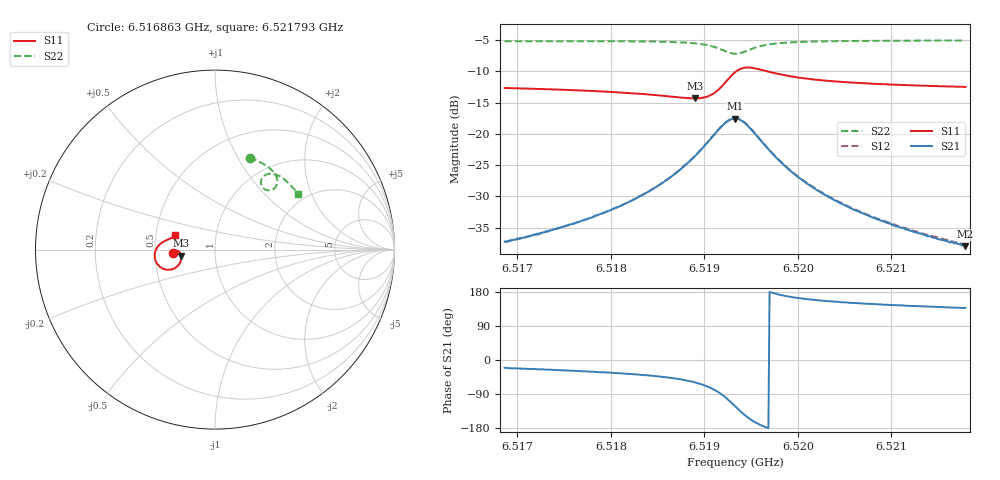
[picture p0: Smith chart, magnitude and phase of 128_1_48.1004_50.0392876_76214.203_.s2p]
#  HZ  S  RI  R  50.00
! Rohde & Schwarz Vector Network Analyzer
! Rohde-Schwarz,ZNB20-2Port,1311601062101988,3.16
! Created: UTC 12/23/2023, 3:47:28 AM
! freq[Hz]  re:S11  im:S11  re:S21  im:S21  re:S12  im:S12  re:S22  im:S22
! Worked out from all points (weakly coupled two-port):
!   401 points, 6.516863 GHz to 6.521793 GHz, reference 50 ohm
!   highest |S21| = -17.56 dB at 6.519328 GHz (marker M1); lowest = -37.9 dB at 6.521793 GHz (marker M2)
!   lowest |S11| = -14.3 dB at 6.518897 GHz (marker M3), VSWR 1.48, Z = 34 - j2.45 ohm
!   |S11| at or under -10 dB: start of sweep to 6.519343 GHz; 6.519667 GHz to end of sweep
!   |S22| runs from -7.2 to -5.1 dB; largest |S21 - S12| = 0.004
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6.5168631e9  -0.2313 -0.0196  0.0129 -0.00485  0.0129 -0.00445  0.1936 0.5128
6.5172329e9  -0.2277 -0.014  0.0146 -0.00665  0.0147 -0.00617  0.221 0.502
6.5176889e9  -0.2216 -0.00831  0.0177 -0.00997  0.0179 -0.00944  0.2548 0.4858
6.518108e9  -0.2137 -0.00575  0.0218 -0.0153  0.0223 -0.0148  0.2862 0.467
6.5185147e9  -0.2025 -0.00963  0.0283 -0.0267  0.0292 -0.0259  0.3174 0.4418
6.5187242e9  -0.1947 -0.0185  0.0322 -0.0388  0.0338 -0.0379  0.3336 0.4227
6.5188968e9  -0.1888 -0.0346  0.0341 -0.0566  0.0362 -0.0559  0.3448 0.3997
6.5190077e9  -0.1886 -0.0533  0.031 -0.0749  0.0336 -0.0744  0.3477 0.3792
6.519094e9  -0.1952 -0.074  0.022 -0.0937  0.0248 -0.0937  0.3435 0.3591
6.5192296e9  -0.2361 -0.1086  -0.0201 -0.1213  -0.0165 -0.1228  0.3124 0.3314
6.5192789e9  -0.263 -0.1124  -0.0446 -0.1219  -0.0415 -0.1242  0.2933 0.3301
6.5193282e9  -0.2917 -0.1052  -0.0697 -0.1127  -0.0669 -0.1156  0.2744 0.338
6.5193775e9  -0.3159 -0.0873  -0.0893 -0.0944  -0.0871 -0.0978  0.2611 0.3531
6.5194391e9  -0.3328 -0.057  -0.1011 -0.0664  -0.0999 -0.0698  0.256 0.3763
6.5195377e9  -0.3335 -0.0129  -0.0969 -0.0287  -0.0969 -0.0316  0.2678 0.4052
6.5196486e9  -0.3184 0.0176  -0.0806 -0.00508  -0.0811 -0.00749  0.2903 0.42
6.5199075e9  -0.2857 0.0449  -0.0504 0.0114  -0.0513 0.00997  0.3327 0.4203
6.520154e9  -0.2671 0.0538  -0.0352 0.0134  -0.036 0.0126  0.3598 0.4089
6.520536e9  -0.2504 0.061  -0.023 0.0125  -0.0237 0.012  0.3905 0.3876
6.5209798e9  -0.2384 0.0676  -0.0158 0.0109  -0.0165 0.0106  0.4188 0.3615
6.5213372e9  -0.2311 0.0727  -0.0123 0.00985  -0.0129 0.00957  0.4384 0.34
6.5217932e9  -0.2234 0.079  -0.00938 0.00855  -0.00988 0.0086  0.4606 0.3117
